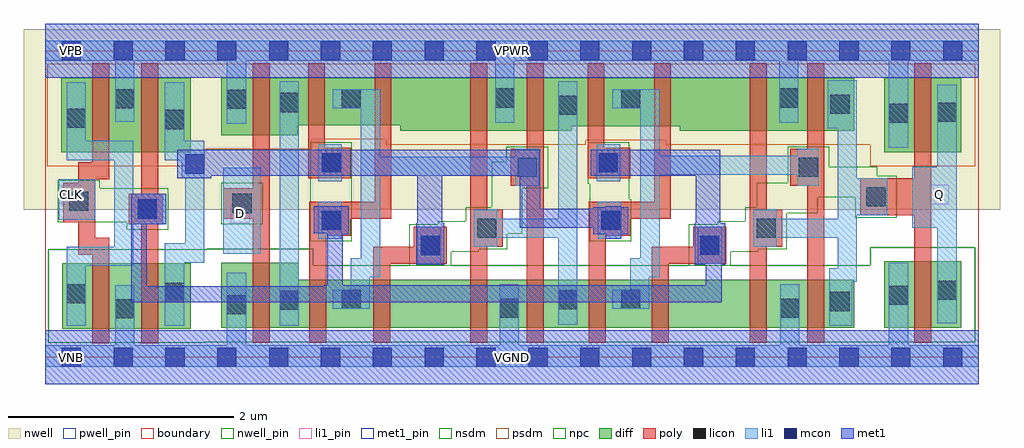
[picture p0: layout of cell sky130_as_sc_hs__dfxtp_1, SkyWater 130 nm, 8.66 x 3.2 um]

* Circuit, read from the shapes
.subckt sky130_as_sc_hs__dfxtp_1 CLK D Q VGND VNB VPB VPWR
XM1 VGND CLK n1 VNB sky130_fd_pr__nfet_01v8 w=0.58 l=0.15
XM2 n2 n1 VGND VNB sky130_fd_pr__nfet_01v8 w=0.58 l=0.15
XM3 n3 D VGND VNB sky130_fd_pr__nfet_01v8 w=0.58 l=0.15
XM4 n4 n1 n3 VNB sky130_fd_pr__nfet_01v8 w=0.43 l=0.15
XM5 n5 n2 n4 VNB sky130_fd_pr__nfet_01v8 w=0.43 l=0.15
XM6 VGND n6 n5 VNB sky130_fd_pr__nfet_01v8 w=0.43 l=0.15
XM7 n6 n4 VGND VNB sky130_fd_pr__nfet_01v8 w=0.43 l=0.15
XM8 n7 n2 n6 VNB sky130_fd_pr__nfet_01v8 w=0.43 l=0.15
XM9 n8 n1 n7 VNB sky130_fd_pr__nfet_01v8 w=0.43 l=0.15
XM10 VGND n9 n8 VNB sky130_fd_pr__nfet_01v8 w=0.43 l=0.15
XM11 n9 n7 VGND VNB sky130_fd_pr__nfet_01v8 w=0.43 l=0.15
XM12 Q n9 VGND VNB sky130_fd_pr__nfet_01v8 w=0.59 l=0.15
XM13 VPWR CLK n1 VPB sky130_fd_pr__pfet_01v8 w=0.66 l=0.15
XM14 n2 n1 VPWR VPB sky130_fd_pr__pfet_01v8 w=0.66 l=0.15
XM15 n3 D VPWR VPB sky130_fd_pr__pfet_01v8 w=0.51 l=0.15
XM16 n4 n2 n3 VPB sky130_fd_pr__pfet_01v8 w=0.42 l=0.15
XM17 n10 n1 n4 VPB sky130_fd_pr__pfet_01v8 w=0.42 l=0.15
XM18 VPWR n6 n10 VPB sky130_fd_pr__pfet_01v8 w=0.47 l=0.15
XM19 n6 n4 VPWR VPB sky130_fd_pr__pfet_01v8 w=0.47 l=0.15
XM20 n7 n1 n6 VPB sky130_fd_pr__pfet_01v8 w=0.43 l=0.15
XM21 n11 n2 n7 VPB sky130_fd_pr__pfet_01v8 w=0.43 l=0.15
XM22 VPWR n9 n11 VPB sky130_fd_pr__pfet_01v8 w=0.47 l=0.15
XM23 n9 n7 VPWR VPB sky130_fd_pr__pfet_01v8 w=0.47 l=0.15
XM24 Q n9 VPWR VPB sky130_fd_pr__pfet_01v8 w=0.66 l=0.15
.ends

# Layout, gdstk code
import gdstk
lib = gdstk.Library(unit=1e-6, precision=1e-09)
def R(c, l, rs):  # rectangles x0, y0, x1, y1
    for r in rs: c.add(gdstk.rectangle(r[:2], r[2:], *l))
def A(c, l, x, y, w, h, nx, ny, dx, dy):  # array of equal rectangles
    R(c, l, [(x+i*dx, y+j*dy, x+i*dx+w, y+j*dy+h) for i in range(nx) for j in range(ny)])
nwell_pin = (64, 16)
nwell = (64, 20)
diff = (65, 20)
poly = (66, 20)
licon = (66, 44)
li1_pin = (67, 16)
li1 = (67, 20)
mcon = (67, 44)
met1_pin = (68, 16)
met1 = (68, 20)
nsdm = (93, 44)
psdm = (94, 20)
npc = (95, 20)
pwell_pin = (122, 16)
boundary = (235, 4)

sky130_as_sc_hs__dfxtp_1 = lib.new_cell('sky130_as_sc_hs__dfxtp_1')
R(sky130_as_sc_hs__dfxtp_1, nwell_pin, [(0.145,2.635,0.315,2.805)])
R(sky130_as_sc_hs__dfxtp_1, nwell, [(-0.19,1.31,8.47,2.91)])
R(sky130_as_sc_hs__dfxtp_1, diff, [(0.15,0.255,1.29,0.835), (1.56,0.26,7.175,0.69), (7.445,0.26,8.125,0.85), (1.56,0.69,2.25,0.84), (0.14,1.82,1.29,2.48), (7.445,1.82,8.125,2.48), (1.56,1.97,2.24,2.06), (3.15,2.01,4.67,2.05), (5.63,2.01,7.175,2.05), (3.15,2.05,7.175,2.06), (1.56,2.06,7.175,2.48)])
R(sky130_as_sc_hs__dfxtp_1, poly, [(0.415,0.125,0.565,0.91), (0.85,0.125,1,1.18), (1.84,0.13,1.99,1.23), (2.34,0.13,2.49,1.08), (2.91,0.13,3.06,0.83), (3.77,0.13,3.92,0.98), (4.27,0.13,4.42,1.52), (4.82,0.13,4.97,1.08), (5.38,0.13,5.53,0.83), (6.25,0.13,6.4,0.98), (6.76,0.13,6.91,1.52), (7.71,0.13,7.86,1.26), (2.91,0.83,3.56,0.98), (5.38,0.83,6.04,0.98), (0.29,0.91,0.565,1.06), (3.27,0.98,3.56,1.16), (3.77,0.98,4.06,1.31), (5.75,0.98,6.04,1.16), (6.25,0.98,6.54,1.31), (0.29,1.06,0.44,1.2), (2.34,1.08,2.71,1.23), (4.82,1.08,5.19,1.23), (0.74,1.18,1.04,1.45), (0.16,1.2,0.44,1.55), (1.58,1.23,1.99,1.5), (2.34,1.23,3.07,1.38), (4.82,1.23,5.55,1.38), (7.23,1.26,7.86,1.59), (3.77,1.31,3.92,2.61), (6.25,1.31,6.4,2.61), (2.92,1.38,3.07,2.61), (5.4,1.38,5.55,2.61), (0.85,1.45,1,2.61), (1.84,1.5,1.99,2.61), (4.13,1.52,4.42,1.85), (6.61,1.52,6.91,1.85), (0.29,1.55,0.44,1.58), (0.29,1.58,0.565,1.73), (2.33,1.59,2.71,1.86), (4.81,1.59,5.19,1.86), (7.71,1.59,7.86,2.61), (0.415,1.73,0.565,2.61), (4.27,1.85,4.42,2.61), (6.76,1.85,6.91,2.61), (2.33,1.86,2.48,2.61), (4.81,1.86,4.96,2.61)])
R(sky130_as_sc_hs__dfxtp_1, licon, [(0.62,0.345,0.79,0.515), (4.03,0.35,4.2,0.52), (6.52,0.35,6.69,0.52), (1.61,0.38,1.78,0.55), (6.965,0.41,7.135,0.58), (2.08,0.42,2.25,0.59), (4.55,0.425,4.72,0.595), (2.63,0.43,2.8,0.6), (5.11,0.43,5.28,0.6), (7.485,0.465,7.655,0.635), (0.19,0.48,0.36,0.65), (1.06,0.49,1.23,0.66), (7.915,0.51,8.085,0.68), (3.33,0.91,3.5,1.08), (5.81,0.91,5.98,1.08), (3.83,1.06,4,1.23), (6.31,1.06,6.48,1.23), (2.45,1.13,2.62,1.3), (4.93,1.13,5.1,1.3), (0.82,1.23,0.99,1.4), (1.66,1.28,1.83,1.45), (0.21,1.3,0.38,1.47), (7.285,1.34,7.455,1.51), (4.19,1.6,4.36,1.77), (6.685,1.6,6.855,1.77), (2.45,1.64,2.62,1.81), (4.91,1.64,5.08,1.81), (1.06,2.025,1.23,2.195), (0.19,2.035,0.36,2.205), (7.485,2.08,7.655,2.25), (7.915,2.09,8.085,2.26), (4.55,2.15,4.72,2.32), (6.965,2.16,7.135,2.33), (2.08,2.175,2.25,2.345), (1.61,2.205,1.78,2.375), (0.62,2.21,0.79,2.38), (2.63,2.21,2.8,2.38), (5.11,2.21,5.28,2.38), (3.99,2.215,4.16,2.385), (6.51,2.215,6.68,2.385)])
R(sky130_as_sc_hs__dfxtp_1, li1_pin, [(1.645,1.19,1.815,1.36), (0.145,1.36,0.315,1.53), (7.845,1.36,8.015,1.53)])
R(sky130_as_sc_hs__dfxtp_1, li1, [(0,-0.085,8.28,0.105), (0.62,0.105,0.79,0.64), (1.61,0.105,1.78,0.75), (4.03,0.105,4.2,0.65), (6.52,0.105,6.69,0.65), (7.485,0.105,7.655,0.84), (0.19,0.28,0.36,0.81), (1.06,0.28,1.23,0.84), (2.08,0.28,2.25,2.45), (6.955,0.28,7.16,0.67), (4.55,0.29,4.72,1.06), (7.915,0.3,8.085,1.15), (2.55,0.43,2.88,0.6), (5.03,0.43,5.36,0.6), (2.71,0.6,2.88,0.71), (5.19,0.6,5.36,0.71), (6.955,0.67,7.2,0.79), (2.71,0.71,2.97,0.88), (5.19,0.71,5.45,0.88), (7.03,0.79,7.2,1.06), (0.19,0.81,0.78,0.98), (3.3,0.83,3.51,1.16), (5.79,0.83,6,1.16), (1.06,0.84,1.41,1.01), (2.8,0.88,2.97,1.61), (5.28,0.88,5.45,1.62), (1.58,0.92,1.91,1.68), (0.61,0.98,0.78,1.18), (3.8,0.98,4.01,1.06), (6.28,0.98,6.49,1.06), (1.24,1.01,1.41,1.59), (2.42,1.05,2.63,1.38), (4.9,1.05,5.11,1.38), (3.8,1.06,4.72,1.23), (6.28,1.06,7.2,1.23), (7.69,1.15,8.085,1.69), (0.61,1.18,1.07,1.45), (0.12,1.22,0.44,1.58), (3.8,1.23,4.01,1.31), (4.55,1.23,4.72,2.45), (6.28,1.23,6.49,1.31), (7.03,1.23,7.2,1.26), (7.03,1.26,7.47,1.59), (0.61,1.45,0.78,1.75), (4.17,1.52,4.38,1.61), (6.67,1.52,6.86,1.62), (2.42,1.56,2.63,1.89), (4.89,1.56,5.1,1.89), (1.21,1.59,1.41,1.75), (7.03,1.59,7.2,2.03), (2.8,1.61,4.38,1.78), (5.28,1.62,6.86,1.79), (7.915,1.69,8.085,2.42), (0.19,1.75,0.78,1.92), (1.06,1.75,1.41,1.92), (2.8,1.78,2.97,2.21), (4.17,1.78,4.38,1.85), (5.28,1.79,5.45,2.21), (6.67,1.79,6.86,1.85), (7.485,1.86,7.655,2.63), (0.19,1.92,0.36,2.44), (1.06,1.92,1.23,2.44), (6.94,2.03,7.2,2.46), (1.61,2.07,1.78,2.63), (3.99,2.08,4.16,2.63), (6.51,2.08,6.68,2.63), (0.62,2.09,0.79,2.63), (2.55,2.21,2.97,2.38), (5.03,2.21,5.45,2.38), (0,2.63,8.28,2.81)])
A(sky130_as_sc_hs__dfxtp_1, mcon, 0.145, -0.085, 0.17, 0.17, 18, 2, 0.46, 2.72)
R(sky130_as_sc_hs__dfxtp_1, mcon, [(3.33,0.905,3.5,1.075), (5.81,0.91,5.98,1.08), (2.45,1.13,2.62,1.3), (4.93,1.13,5.1,1.3), (0.82,1.23,0.99,1.4), (1.24,1.63,1.41,1.8), (2.45,1.64,2.62,1.81), (4.91,1.64,5.08,1.81)])
R(sky130_as_sc_hs__dfxtp_1, met1_pin, [(0,-0.24,8.28,0.24), (0.145,-0.085,0.315,0.085), (0,2.48,8.28,2.96), (0.145,2.635,0.315,2.805)])
R(sky130_as_sc_hs__dfxtp_1, met1, [(0,-0.24,8.28,0.24), (0.76,0.49,6,0.63), (0.76,0.63,0.9,1.18), (2.47,0.63,6,0.64), (2.5,0.64,2.64,1.09), (5.86,0.64,6,0.82), (3.29,0.82,3.54,1.19), (5.76,0.82,6.03,1.19), (4.97,1.05,5.11,1.09), (2.5,1.09,2.69,1.1), (4.86,1.09,5.17,1.15), (2.38,1.1,2.69,1.34), (4.21,1.15,5.17,1.32), (0.76,1.18,1.07,1.45), (3.3,1.19,3.52,1.61), (5.77,1.19,5.99,1.61), (4.21,1.32,4.39,1.61), (4.86,1.32,5.17,1.33), (4.97,1.33,5.11,1.34), (1.17,1.59,1.47,1.61), (1.17,1.61,4.39,1.84), (4.84,1.61,5.99,1.84), (0,2.48,8.28,2.96)])
R(sky130_as_sc_hs__dfxtp_1, nsdm, [(0.025,0.13,1.415,0.135), (0.025,0.135,8.25,0.815), (0.025,0.815,2.375,0.96), (7.32,0.815,8.25,0.975), (1.435,0.96,2.375,0.965)])
R(sky130_as_sc_hs__dfxtp_1, psdm, [(0.015,1.695,1.415,1.845), (7.32,1.695,8.25,1.885), (0.015,1.845,2.365,1.935), (3.025,1.885,4.795,1.925), (5.505,1.885,8.25,1.925), (3.025,1.925,8.25,1.935), (0.015,1.935,8.25,2.605)])
R(sky130_as_sc_hs__dfxtp_1, npc, [(3.23,0.81,3.6,0.935), (5.71,0.81,6.08,0.935), (3.23,0.935,3.845,0.96), (5.71,0.935,6.325,0.96), (3.23,0.96,4.1,1.095), (5.71,0.96,6.58,1.18), (2.35,1.03,2.72,1.91), (4.83,1.03,5.2,1.4), (3.23,1.095,4.23,1.18), (0.72,1.13,1.09,1.2), (1.56,1.18,1.93,1.55), (3.485,1.18,4.23,1.205), (5.965,1.18,6.58,1.205), (0.11,1.2,1.09,1.5), (3.73,1.205,4.23,1.33), (6.21,1.205,6.58,1.28), (7.185,1.24,7.555,1.42), (6.21,1.28,6.855,1.33), (3.96,1.33,4.23,1.5), (6.31,1.33,6.855,1.42), (4.83,1.4,5.18,1.54), (6.31,1.42,7.555,1.55), (0.11,1.5,0.48,1.57), (3.96,1.5,4.46,1.735), (4.81,1.54,5.18,1.91), (6.585,1.55,7.555,1.61), (6.585,1.61,7.38,1.69), (6.585,1.69,6.955,1.87), (4.09,1.735,4.46,1.87)])
R(sky130_as_sc_hs__dfxtp_1, pwell_pin, [(0.145,-0.085,0.315,0.085)])
R(sky130_as_sc_hs__dfxtp_1, boundary, [(0,0,8.28,2.72)])
sky130_as_sc_hs__dfxtp_1.add(gdstk.Label('VNB', (0.23,0), layer=64, texttype=59))
sky130_as_sc_hs__dfxtp_1.add(gdstk.Label('VPB', (0.23,2.72), layer=64, texttype=5))
sky130_as_sc_hs__dfxtp_1.add(gdstk.Label('VNB', (0.23,0), layer=64, texttype=59))
sky130_as_sc_hs__dfxtp_1.add(gdstk.Label('VPB', (0.23,2.72), layer=64, texttype=5))
sky130_as_sc_hs__dfxtp_1.add(gdstk.Label('VPWR', (4.14,2.72), layer=68, texttype=5))
sky130_as_sc_hs__dfxtp_1.add(gdstk.Label('VPWR', (0.23,2.72), layer=68, texttype=5))
sky130_as_sc_hs__dfxtp_1.add(gdstk.Label('VGND', (4.14,0), layer=68, texttype=5))
sky130_as_sc_hs__dfxtp_1.add(gdstk.Label('VGND', (0.23,0), layer=68, texttype=5))
sky130_as_sc_hs__dfxtp_1.add(gdstk.Label('CLK', (0.23,1.445), layer=67, texttype=5))
sky130_as_sc_hs__dfxtp_1.add(gdstk.Label('Q', (7.93,1.445), layer=67, texttype=5))
sky130_as_sc_hs__dfxtp_1.add(gdstk.Label('D', (1.73,1.275), layer=67, texttype=5))

lib.write_gds('sky130_as_sc_hs__dfxtp_1.gds')
